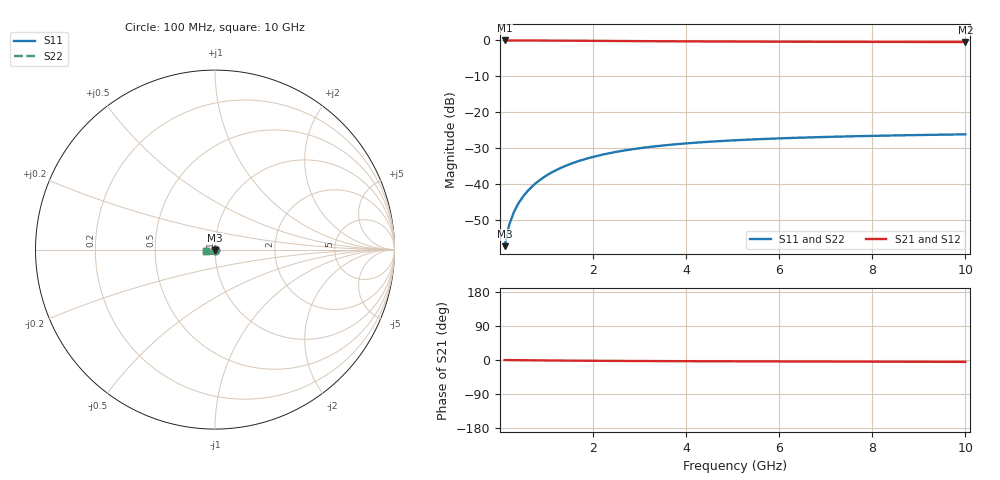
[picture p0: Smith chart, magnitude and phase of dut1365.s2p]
! Touchstone file exported from HFSS 2024.1.0
!  File:  C:/UserFiles/LocalFiles/RDL_TSV_Batchsim/temp_TSV1_1365_1780378529.aedt
!  Generated:  01:42:49 PM Jun  2, 2026
!  Design:  TSV1
!  Project:  temp_TSV1_1365_1780378529
!  Setup:  Setup1
!  Solution:  Sweep
! Variables:
!  dtsv = 11.49um
!  hbump = 3um
!  htsv = 76.44um
!  lrdl = 252.1521522um
!  p = 40
!  p1 = 48.39um
!  t = 500um
!  trdl = 3um
!  wrdl = 24.89489489um
# GHz S MA R 50.000000
! Terminal data exported
! Port[1] = TSV22_T1
! Port[2] = TSV22_T2
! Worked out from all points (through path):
!   100 points, 100 MHz to 10 GHz, reference 50 ohm
!   highest |S21| = 0.00 dB at 100 MHz (marker M1); lowest = -0.4 dB at 10 GHz (marker M2)
!   lowest |S11| = -57.4 dB at 100 MHz (marker M3), VSWR 1.00, Z = 50 - j0.135 ohm
!   |S11| at or under -10 dB: start of sweep to end of sweep
!   |S22| runs from -57.4 to -26.2 dB; largest |S21 - S12| = 7.7e-15
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0.1  0.001348 -87.1  0.9998 -0.1  0.9998 -0.1  0.001348 -87.1
! Gamma 0 0 0 0
! Port Impedance 50 0 50 0
0.2  0.002691 -90.9  0.9997 -0.2  0.9997 -0.2  0.002691 -90.9
0.3  0.004033 -93.3  0.9995 -0.4  0.9995 -0.4  0.004033 -93.3
0.4  0.00537 -95.3  0.9992 -0.5  0.9992 -0.5  0.00537 -95.3
0.5  0.006698 -97.2  0.9988 -0.6  0.9988 -0.6  0.006698 -97.2
0.6  0.008012 -99.1  0.9984 -0.7  0.9984 -0.7  0.008012 -99.1
0.7  0.009309 -100.9  0.9979 -0.8  0.9979 -0.8  0.009309 -100.9
0.8  0.01059 -102.6  0.9973 -1.0  0.9973 -1.0  0.01059 -102.6
0.9  0.01184 -104.3  0.9967 -1.1  0.9967 -1.1  0.01184 -104.3
1.1  0.01427 -107.6  0.9953 -1.3  0.9953 -1.3  0.01427 -107.6
1.4  0.0177 -112.3  0.993 -1.6  0.993 -1.6  0.0177 -112.3
1.6  0.01984 -115.3  0.9913 -1.8  0.9913 -1.8  0.01984 -115.3
1.8  0.02184 -118.1  0.9895 -1.9  0.9895 -1.9  0.02184 -118.1
2.1  0.02461 -122.1  0.9867 -2.1  0.9867 -2.1  0.02461 -122.1
2.5  0.02788 -127.0  0.983 -2.4  0.983 -2.4  0.02788 -127.0
2.9  0.0307 -131.5  0.9795 -2.6  0.9795 -2.6  0.0307 -131.5
3.4  0.03369 -136.5  0.9755 -2.9  0.9755 -2.9  0.03369 -136.5
4.2  0.03746 -143.3  0.9699 -3.2  0.9699 -3.2  0.03746 -143.3
5.1  0.04062 -149.6  0.9648 -3.5  0.9648 -3.5  0.04062 -149.6
6.7  0.04449 -158.5  0.9582 -4.0  0.9582 -4.0  0.04449 -158.5
8.4  0.04717 -165.9  0.9536 -4.5  0.9536 -4.5  0.04717 -165.9
10  0.04896 -171.5  0.9506 -4.9  0.9506 -4.9  0.04896 -171.5
